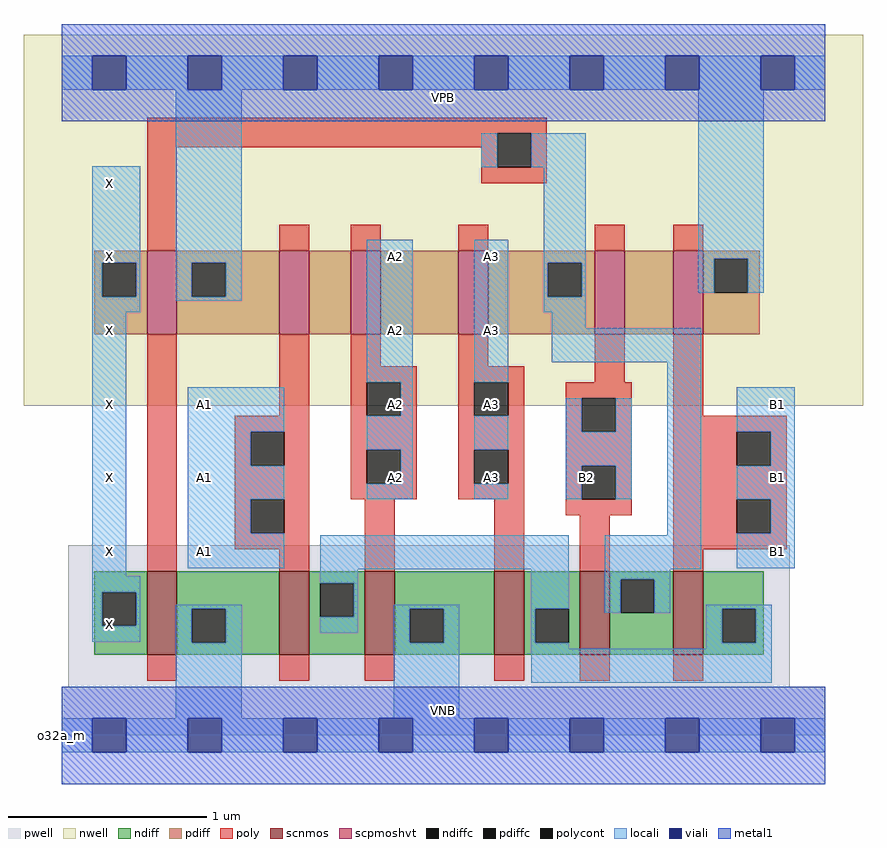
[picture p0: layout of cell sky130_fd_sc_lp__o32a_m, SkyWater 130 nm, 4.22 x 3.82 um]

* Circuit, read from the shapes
.subckt sky130_fd_sc_lp__o32a_m A1 A2 A3 B1 B2 VGND VNB VPB VPWR X
XM1 VGND n1 X VNB sky130_fd_pr__nfet_01v8 w=0.42 l=0.15
XM2 n2 A1 VGND VNB sky130_fd_pr__nfet_01v8 w=0.42 l=0.15
XM3 VGND A2 n2 VNB sky130_fd_pr__nfet_01v8 w=0.42 l=0.15
XM4 n2 A3 VGND VNB sky130_fd_pr__nfet_01v8 w=0.42 l=0.15
XM5 n1 B2 n2 VNB sky130_fd_pr__nfet_01v8 w=0.42 l=0.15
XM6 n2 B1 n1 VNB sky130_fd_pr__nfet_01v8 w=0.42 l=0.15
XM7 VPWR n1 X VPB sky130_fd_pr__pfet_01v8_hvt w=0.42 l=0.15
XM8 n3 A1 VPWR VPB sky130_fd_pr__pfet_01v8_hvt w=0.42 l=0.15
XM9 n4 A2 n3 VPB sky130_fd_pr__pfet_01v8_hvt w=0.42 l=0.15
XM10 n1 A3 n4 VPB sky130_fd_pr__pfet_01v8_hvt w=0.42 l=0.15
XM11 n5 B2 n1 VPB sky130_fd_pr__pfet_01v8_hvt w=0.42 l=0.15
XM12 VPWR B1 n5 VPB sky130_fd_pr__pfet_01v8_hvt w=0.42 l=0.15
.ends

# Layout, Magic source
magic
tech sky130A
magscale 1 2
<< nwell >>
rect -38 331 806 704
<< pwell >>
rect 7 49 732 191
rect 0 0 768 49
<< scnmos >>
rect 86 81 116 165
rect 219 81 249 165
rect 305 81 335 165
rect 435 81 465 165
rect 521 81 551 165
rect 615 81 645 165
<< scpmoshvt >>
rect 86 403 116 487
rect 219 403 249 487
rect 291 403 321 487
rect 399 403 429 487
rect 536 403 566 487
rect 615 403 645 487
<< ndiff >>
rect 33 144 86 165
rect 33 110 41 144
rect 75 110 86 144
rect 33 81 86 110
rect 116 127 219 165
rect 116 93 131 127
rect 165 93 219 127
rect 116 81 219 93
rect 249 153 305 165
rect 249 119 260 153
rect 294 119 305 153
rect 249 81 305 119
rect 335 127 435 165
rect 335 93 350 127
rect 384 93 435 127
rect 335 81 435 93
rect 465 127 521 165
rect 465 93 476 127
rect 510 93 521 127
rect 465 81 521 93
rect 551 157 615 165
rect 551 123 562 157
rect 596 123 615 157
rect 551 81 615 123
rect 645 127 706 165
rect 645 93 664 127
rect 698 93 706 127
rect 645 81 706 93
<< pdiff >>
rect 33 475 86 487
rect 33 441 41 475
rect 75 441 86 475
rect 33 403 86 441
rect 116 475 219 487
rect 116 441 131 475
rect 165 441 219 475
rect 116 403 219 441
rect 249 403 291 487
rect 321 403 399 487
rect 429 475 536 487
rect 429 441 489 475
rect 523 441 536 475
rect 429 403 536 441
rect 566 403 615 487
rect 645 479 702 487
rect 645 445 656 479
rect 690 445 702 479
rect 645 403 702 445
<< ndiffc >>
rect 41 110 75 144
rect 131 93 165 127
rect 260 119 294 153
rect 350 93 384 127
rect 476 93 510 127
rect 562 123 596 157
rect 664 93 698 127
<< pdiffc >>
rect 41 441 75 475
rect 131 441 165 475
rect 489 441 523 475
rect 656 445 690 479
<< poly >>
rect 86 605 488 621
rect 86 591 438 605
rect 86 487 116 591
rect 422 571 438 591
rect 472 571 488 605
rect 422 555 488 571
rect 219 487 249 513
rect 291 487 321 513
rect 399 487 429 513
rect 536 487 566 513
rect 615 487 645 513
rect 86 165 116 403
rect 219 321 249 403
rect 174 305 249 321
rect 174 271 190 305
rect 224 271 249 305
rect 174 237 249 271
rect 291 371 321 403
rect 399 371 429 403
rect 291 355 357 371
rect 291 321 307 355
rect 341 321 357 355
rect 291 287 357 321
rect 291 253 307 287
rect 341 253 357 287
rect 291 237 357 253
rect 399 355 465 371
rect 536 355 566 403
rect 399 321 415 355
rect 449 321 465 355
rect 399 287 465 321
rect 399 253 415 287
rect 449 253 465 287
rect 399 237 465 253
rect 174 203 190 237
rect 224 203 249 237
rect 174 187 249 203
rect 219 165 249 187
rect 305 165 335 237
rect 435 165 465 237
rect 507 339 573 355
rect 507 305 523 339
rect 557 305 573 339
rect 507 271 573 305
rect 507 237 523 271
rect 557 237 573 271
rect 507 221 573 237
rect 615 321 645 403
rect 615 305 729 321
rect 615 271 679 305
rect 713 271 729 305
rect 615 237 729 271
rect 521 165 551 221
rect 615 203 679 237
rect 713 203 729 237
rect 615 187 729 203
rect 615 165 645 187
rect 86 55 116 81
rect 219 55 249 81
rect 305 55 335 81
rect 435 55 465 81
rect 521 55 551 81
rect 615 55 645 81
<< polycont >>
rect 438 571 472 605
rect 190 271 224 305
rect 307 321 341 355
rect 307 253 341 287
rect 415 321 449 355
rect 415 253 449 287
rect 190 203 224 237
rect 523 305 557 339
rect 523 237 557 271
rect 679 271 713 305
rect 679 203 713 237
<< locali >>
rect 0 649 31 683
rect 65 649 127 683
rect 161 649 223 683
rect 257 649 319 683
rect 353 649 415 683
rect 449 649 511 683
rect 545 649 607 683
rect 641 649 703 683
rect 737 649 768 683
rect 31 475 79 572
rect 31 441 41 475
rect 75 441 79 475
rect 31 425 79 441
rect 115 475 181 649
rect 422 571 438 605
rect 472 571 527 605
rect 115 441 131 475
rect 165 441 181 475
rect 115 437 181 441
rect 31 160 65 425
rect 307 355 353 498
rect 127 305 224 350
rect 127 271 190 305
rect 127 237 224 271
rect 341 321 353 355
rect 307 287 353 321
rect 341 253 353 287
rect 307 237 353 253
rect 415 355 449 498
rect 485 475 527 571
rect 485 441 489 475
rect 523 441 527 475
rect 640 479 706 649
rect 640 445 656 479
rect 690 445 706 479
rect 485 425 527 441
rect 493 409 527 425
rect 493 375 643 409
rect 415 287 449 321
rect 415 237 449 253
rect 507 305 523 339
rect 557 305 573 339
rect 507 271 573 305
rect 507 237 523 271
rect 557 237 573 271
rect 127 203 190 237
rect 127 168 224 203
rect 609 201 643 375
rect 260 167 510 201
rect 31 144 79 160
rect 31 110 41 144
rect 75 110 79 144
rect 260 153 298 167
rect 31 94 79 110
rect 115 127 181 131
rect 115 93 131 127
rect 165 93 181 127
rect 294 119 298 153
rect 260 103 298 119
rect 334 127 400 131
rect 115 17 181 93
rect 334 93 350 127
rect 384 93 400 127
rect 334 17 400 93
rect 472 127 510 167
rect 472 93 476 127
rect 546 167 643 201
rect 679 305 737 350
rect 713 271 737 305
rect 679 237 737 271
rect 713 203 737 237
rect 679 168 737 203
rect 546 157 612 167
rect 546 123 562 157
rect 596 123 612 157
rect 648 127 714 131
rect 472 87 510 93
rect 648 93 664 127
rect 698 93 714 127
rect 648 87 714 93
rect 472 53 714 87
rect 0 -17 31 17
rect 65 -17 127 17
rect 161 -17 223 17
rect 257 -17 319 17
rect 353 -17 415 17
rect 449 -17 511 17
rect 545 -17 607 17
rect 641 -17 703 17
rect 737 -17 768 17
<< viali >>
rect 31 649 65 683
rect 127 649 161 683
rect 223 649 257 683
rect 319 649 353 683
rect 415 649 449 683
rect 511 649 545 683
rect 607 649 641 683
rect 703 649 737 683
rect 31 -17 65 17
rect 127 -17 161 17
rect 223 -17 257 17
rect 319 -17 353 17
rect 415 -17 449 17
rect 511 -17 545 17
rect 607 -17 641 17
rect 703 -17 737 17
<< metal1 >>
rect 0 683 768 715
rect 0 649 31 683
rect 65 649 127 683
rect 161 649 223 683
rect 257 649 319 683
rect 353 649 415 683
rect 449 649 511 683
rect 545 649 607 683
rect 641 649 703 683
rect 737 649 768 683
rect 0 617 768 649
rect 0 17 768 49
rect 0 -17 31 17
rect 65 -17 127 17
rect 161 -17 223 17
rect 257 -17 319 17
rect 353 -17 415 17
rect 449 -17 511 17
rect 545 -17 607 17
rect 641 -17 703 17
rect 737 -17 768 17
rect 0 -49 768 -17
<< labels >>
flabel pwell s 0 0 768 49 0 FreeSans 200 0 0 0 VNB
port 7 nsew ground bidirectional
flabel nwell s 0 617 768 666 0 FreeSans 200 0 0 0 VPB
port 8 nsew power bidirectional
rlabel comment s 0 0 0 0 4 o32a_m
flabel metal1 s 0 617 768 666 0 FreeSans 340 0 0 0 VPWR
port 9 nsew power bidirectional
flabel metal1 s 0 0 768 49 0 FreeSans 340 0 0 0 VGND
port 6 nsew ground bidirectional
flabel locali s 127 168 161 202 0 FreeSans 340 0 0 0 A1
port 1 nsew signal input
flabel locali s 127 242 161 276 0 FreeSans 340 0 0 0 A1
port 1 nsew signal input
flabel locali s 127 316 161 350 0 FreeSans 340 0 0 0 A1
port 1 nsew signal input
flabel locali s 319 242 353 276 0 FreeSans 340 0 0 0 A2
port 2 nsew signal input
flabel locali s 319 316 353 350 0 FreeSans 340 0 0 0 A2
port 2 nsew signal input
flabel locali s 319 390 353 424 0 FreeSans 340 0 0 0 A2
port 2 nsew signal input
flabel locali s 319 464 353 498 0 FreeSans 340 0 0 0 A2
port 2 nsew signal input
flabel locali s 415 242 449 276 0 FreeSans 340 0 0 0 A3
port 3 nsew signal input
flabel locali s 415 316 449 350 0 FreeSans 340 0 0 0 A3
port 3 nsew signal input
flabel locali s 415 390 449 424 0 FreeSans 340 0 0 0 A3
port 3 nsew signal input
flabel locali s 415 464 449 498 0 FreeSans 340 0 0 0 A3
port 3 nsew signal input
flabel locali s 703 168 737 202 0 FreeSans 340 0 0 0 B1
port 4 nsew signal input
flabel locali s 703 242 737 276 0 FreeSans 340 0 0 0 B1
port 4 nsew signal input
flabel locali s 703 316 737 350 0 FreeSans 340 0 0 0 B1
port 4 nsew signal input
flabel locali s 511 242 545 276 0 FreeSans 340 0 0 0 B2
port 5 nsew signal input
flabel locali s 31 94 65 128 0 FreeSans 340 0 0 0 X
port 10 nsew signal output
flabel locali s 31 168 65 202 0 FreeSans 340 0 0 0 X
port 10 nsew signal output
flabel locali s 31 242 65 276 0 FreeSans 340 0 0 0 X
port 10 nsew signal output
flabel locali s 31 316 65 350 0 FreeSans 340 0 0 0 X
port 10 nsew signal output
flabel locali s 31 390 65 424 0 FreeSans 340 0 0 0 X
port 10 nsew signal output
flabel locali s 31 464 65 498 0 FreeSans 340 0 0 0 X
port 10 nsew signal output
flabel locali s 31 538 65 572 0 FreeSans 340 0 0 0 X
port 10 nsew signal output
<< properties >>
string LEFsite unit
string LEFclass CORE
string FIXED_BBOX 0 0 768 666
string GDS_FILE $PDKPATH/libs.ref/sky130_fd_sc_lp/gds/sky130_fd_sc_lp.gds
string LEFsymmetry X Y R90
string GDS_END 1757764
string GDS_START 1749380
<< end >>
